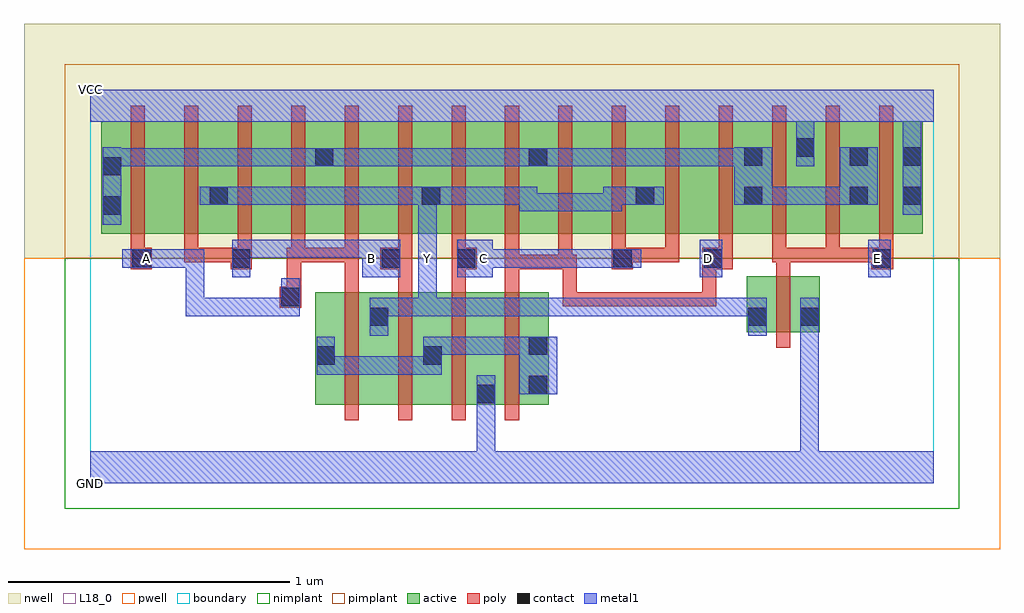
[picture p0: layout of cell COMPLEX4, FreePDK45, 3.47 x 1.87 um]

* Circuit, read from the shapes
.subckt COMPLEX4 A B C D E GND VCC Y
M1 Y A n1 VSUBS nfet w=0.4u l=0.05u
M2 n1 B Y VSUBS nfet w=0.4u l=0.05u
M3 GND C n1 VSUBS nfet w=0.4u l=0.05u
M4 n1 D GND VSUBS nfet w=0.4u l=0.05u
M5 GND E Y VSUBS nfet w=0.2u l=0.05u
M6 n2 A n3 n4 pfet w=0.4u l=0.05u
M7 Y B n2 n4 pfet w=0.4u l=0.05u
M8 n5 B Y n4 pfet w=0.4u l=0.05u
M9 n3 A n5 n4 pfet w=0.4u l=0.05u
M10 n6 A n3 n4 pfet w=0.4u l=0.05u
M11 Y B n6 n4 pfet w=0.4u l=0.05u
M12 n7 C Y n4 pfet w=0.4u l=0.05u
M13 n3 D n7 n4 pfet w=0.4u l=0.05u
M14 n8 D n3 n4 pfet w=0.4u l=0.05u
M15 Y C n8 n4 pfet w=0.4u l=0.05u
M16 n9 C Y n4 pfet w=0.4u l=0.05u
M17 n3 D n9 n4 pfet w=0.4u l=0.05u
M18 VCC E n3 n4 pfet w=0.4u l=0.05u m=3
.ends

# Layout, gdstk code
import gdstk
lib = gdstk.Library(unit=1e-6, precision=1e-09)
def R(c, l, rs):  # rectangles x0, y0, x1, y1
    for r in rs: c.add(gdstk.rectangle(r[:2], r[2:], *l))
def A(c, l, x, y, w, h, nx, ny, dx, dy):  # array of equal rectangles
    R(c, l, [(x+i*dx, y+j*dy, x+i*dx+w, y+j*dy+h) for i in range(nx) for j in range(ny)])
active = (1, 0)
pwell = (2, 0)
nwell = (3, 0)
nimplant = (4, 0)
pimplant = (5, 0)
poly = (9, 0)
contact = (10, 0)
metal1 = (11, 0)
L18_0 = (18, 0)
boundary = (235, 0)

complex4 = lib.new_cell('COMPLEX4')
A(complex4, active, 0.8, 0.28, 0.265, 0.4, 3, 1, 0.19, 0)
A(complex4, active, 0.645, 0.887, 0.225, 0.4, 4, 1, 0.38, 0)
A(complex4, active, 0.795, 0.887, 0.23, 0.4, 4, 1, 0.38, 0)
R(complex4, active, [(1.37,0.28,1.63,0.68), (1.37,0.28,1.445,0.447), (0.8,0.312,0.875,0.68), (1.555,0.312,1.63,0.527), (0.99,0.332,1.065,0.63), (1.18,0.332,1.255,0.492), (2.335,0.537,2.595,0.737), (2.335,0.545,2.41,0.737), (2.52,0.545,2.595,0.737), (0.04,0.887,0.265,1.287), (0.04,0.887,0.145,1.2), (0.265,0.887,0.495,1.287), (0.42,0.887,0.495,1.07), (0.42,0.887,0.645,1.287), (0.795,0.887,0.87,1.2), (1.175,0.887,1.25,1.07), (1.555,0.887,1.63,1.2), (1.935,0.887,2.01,1.07), (2.165,0.887,2.395,1.287), (2.32,0.887,2.58,1.287), (2.32,0.887,2.395,1.2), (2.505,0.887,2.77,1.287), (2.505,0.887,2.58,1.287), (2.695,0.887,2.96,1.287), (2.695,0.887,2.77,1.2), (2.885,0.887,2.96,1.287)])
R(complex4, pwell, [(-0.235,-0.235,3.235,0.8)])
R(complex4, nwell, [(-0.235,0.8,3.235,1.635)])
R(complex4, nimplant, [(-0.09,-0.09,3.09,0.8)])
R(complex4, pimplant, [(-0.09,0.8,3.09,1.49)])
A(complex4, poly, 0.905, 0.225, 0.05, 0.51, 4, 1, 0.19, 0)
A(complex4, poly, 1.095, 0.685, 0.05, 0.127, 3, 1, 0.19, 0)
A(complex4, poly, 0.145, 0.787, 0.05, 0.095, 7, 1, 0.19, 0)
A(complex4, poly, 1.855, 0.787, 0.05, 0.095, 6, 1, 0.19, 0)
A(complex4, poly, 0.145, 0.832, 0.05, 0.51, 15, 1, 0.19, 0)
R(complex4, poly, [(2.44,0.482,2.49,0.792), (0.675,0.625,0.75,0.7), (1.68,0.63,1.73,0.68), (1.68,0.63,1.73,0.68), (1.68,0.63,1.73,0.68), (1.68,0.63,1.73,0.812), (1.68,0.63,1.93,0.68), (1.88,0.63,1.93,0.68), (1.88,0.63,1.93,0.68), (1.88,0.63,1.93,0.68), (1.88,0.63,2.062,0.68), (2.012,0.63,2.062,0.68), (2.012,0.63,2.227,0.68), (2.177,0.63,2.227,0.68), (2.177,0.63,2.227,0.68), (2.177,0.63,2.227,0.68), (2.177,0.63,2.227,0.812), (0.7,0.65,0.75,0.7), (0.7,0.65,0.75,0.7), (0.7,0.65,0.75,0.837), (0.905,0.685,0.955,0.837), (2.44,0.742,2.49,0.837), (0.145,0.762,0.22,0.837), (0.5,0.762,0.575,0.837), (1.032,0.762,1.145,0.837), (1.285,0.762,1.375,0.837), (1.475,0.762,1.525,0.812), (1.475,0.762,1.525,0.812), (1.475,0.762,1.525,0.812), (1.475,0.762,1.525,0.882), (1.475,0.762,1.715,0.812), (1.665,0.762,1.715,0.812), (1.665,0.762,1.715,0.812), (1.665,0.762,1.73,0.812), (1.665,0.762,1.715,0.882), (1.855,0.762,1.93,0.837), (2.177,0.762,2.227,0.812), (2.177,0.762,2.227,0.812), (2.177,0.762,2.285,0.837), (2.777,0.762,2.855,0.837), (0.335,0.787,0.385,0.837), (0.335,0.787,0.55,0.837), (0.5,0.787,0.55,0.837), (0.5,0.787,0.55,0.837), (0.7,0.787,0.765,0.837), (0.715,0.787,0.765,0.837), (0.715,0.787,0.765,0.837), (0.715,0.787,0.955,0.837), (0.905,0.787,0.955,0.837), (1.88,0.787,1.93,0.837), (1.88,0.787,1.93,0.837), (1.88,0.787,2.095,0.837), (2.045,0.787,2.095,0.837), (2.425,0.787,2.49,0.837), (2.44,0.787,2.49,0.837), (2.44,0.787,2.49,0.837), (2.44,0.787,2.665,0.837), (2.615,0.787,2.665,0.837), (2.615,0.787,2.827,0.837), (2.777,0.787,2.827,0.837), (2.777,0.787,2.827,0.837)])
R(complex4, contact, [(1.375,0.285,1.44,0.35), (1.56,0.317,1.625,0.382), (0.805,0.422,0.87,0.487), (1.185,0.422,1.25,0.487), (1.56,0.457,1.625,0.522), (0.995,0.56,1.06,0.625), (2.34,0.56,2.405,0.625), (2.525,0.56,2.59,0.625), (0.68,0.63,0.745,0.695), (0.15,0.767,0.215,0.832), (0.505,0.767,0.57,0.832), (1.037,0.767,1.102,0.832), (1.305,0.767,1.37,0.832), (1.86,0.767,1.925,0.832), (2.182,0.767,2.247,0.832), (2.782,0.767,2.847,0.832), (0.045,0.955,0.11,1.02), (0.425,0.99,0.49,1.055), (1.18,0.99,1.245,1.055), (1.94,0.99,2.005,1.055), (2.325,0.99,2.39,1.055), (2.7,0.99,2.765,1.055), (2.89,0.99,2.955,1.055), (0.045,1.095,0.11,1.16), (0.8,1.127,0.865,1.192), (1.56,1.127,1.625,1.192), (2.325,1.13,2.39,1.195), (2.7,1.13,2.765,1.195), (2.89,1.13,2.955,1.195), (2.51,1.162,2.575,1.227)])
R(complex4, metal1, [(0,0,3,0.115), (1.375,0.05,1.44,0.115), (1.375,0.05,1.44,0.115), (1.375,0.05,1.44,0.115), (1.375,0.05,1.44,0.115), (1.375,0.05,1.44,0.315), (2.525,0.05,2.59,0.115), (2.525,0.05,2.59,0.115), (2.525,0.05,2.59,0.115), (2.525,0.05,2.59,0.115), (2.525,0.05,2.59,0.59), (1.375,0.25,1.44,0.385), (1.525,0.317,1.66,0.522), (0.805,0.387,0.87,0.452), (0.805,0.387,0.87,0.452), (0.805,0.387,0.87,0.522), (0.805,0.387,1.072,0.452), (1.007,0.387,1.072,0.452), (1.007,0.387,1.072,0.452), (1.007,0.387,1.072,0.452), (1.007,0.387,1.25,0.452), (1.185,0.387,1.25,0.522), (1.185,0.457,1.432,0.522), (1.367,0.457,1.432,0.522), (1.367,0.457,1.432,0.522), (1.367,0.457,1.432,0.522), (1.367,0.457,1.59,0.522), (1.525,0.457,1.59,0.522), (1.525,0.457,1.59,0.522), (0.995,0.525,1.06,0.66), (2.34,0.525,2.405,0.66), (2.525,0.525,2.59,0.59), (2.525,0.525,2.59,0.59), (2.525,0.525,2.59,0.59), (2.525,0.525,2.59,0.59), (2.525,0.525,2.59,0.66), (0.34,0.595,0.405,0.66), (0.34,0.595,0.555,0.66), (0.34,0.595,0.405,0.832), (0.49,0.595,0.555,0.66), (0.49,0.595,0.692,0.66), (0.627,0.595,0.692,0.66), (0.627,0.595,0.692,0.66), (0.627,0.595,0.692,0.66), (0.627,0.595,0.745,0.66), (0.68,0.595,0.745,0.73), (0.995,0.595,1.06,0.66), (0.995,0.595,1.06,0.66), (0.995,0.595,1.232,0.66), (1.167,0.595,1.232,0.66), (1.167,0.595,1.432,0.66), (1.167,0.595,1.232,0.797), (1.367,0.595,1.432,0.66), (1.367,0.595,1.432,0.66), (1.367,0.595,1.432,0.66), (1.367,0.595,1.59,0.66), (1.525,0.595,1.59,0.66), (1.525,0.595,1.59,0.66), (1.525,0.595,1.59,0.66), (1.525,0.595,1.727,0.66), (1.662,0.595,1.727,0.66), (1.662,0.595,1.797,0.66), (1.732,0.595,1.797,0.66), (1.732,0.595,1.942,0.66), (1.877,0.595,2.08,0.66), (1.877,0.595,1.942,0.66), (1.877,0.595,1.942,0.66), (2.015,0.595,2.08,0.66), (2.015,0.595,2.08,0.66), (2.015,0.595,2.217,0.66), (2.152,0.595,2.217,0.66), (2.152,0.595,2.217,0.66), (2.152,0.595,2.217,0.66), (2.152,0.595,2.405,0.66), (0.505,0.732,0.57,0.867), (0.967,0.732,1.102,0.867), (1.167,0.732,1.232,0.867), (1.305,0.732,1.432,0.867), (2.167,0.732,2.247,0.867), (2.767,0.732,2.847,0.867), (0.115,0.767,0.267,0.832), (0.202,0.767,0.405,0.832), (0.202,0.767,0.267,0.832), (0.202,0.767,0.267,0.832), (0.34,0.767,0.405,0.832), (0.34,0.767,0.405,0.832), (0.34,0.767,0.405,0.832), (1.367,0.767,1.432,0.832), (1.367,0.767,1.432,0.832), (1.367,0.767,1.59,0.832), (1.525,0.767,1.59,0.832), (1.525,0.767,1.59,0.832), (1.525,0.767,1.59,0.832), (1.525,0.767,1.752,0.832), (1.687,0.767,1.752,0.832), (1.687,0.767,1.797,0.832), (1.732,0.767,1.797,0.832), (1.732,0.767,1.89,0.832), (1.825,0.767,1.96,0.832), (0.505,0.802,0.692,0.867), (0.627,0.802,0.692,0.867), (0.627,0.802,0.707,0.867), (0.642,0.802,0.707,0.867), (0.642,0.802,0.895,0.867), (0.83,0.802,0.895,0.867), (0.83,0.802,0.895,0.867), (0.83,0.802,0.895,0.867), (0.83,0.802,1.032,0.867), (0.967,0.802,1.032,0.867), (0.967,0.802,1.032,0.867), (1.167,0.802,1.232,1.055), (0.045,0.92,0.11,1.195), (2.89,0.955,2.955,1.23), (1.525,0.967,1.727,1.032), (1.525,0.967,1.59,1.055), (1.662,0.967,1.727,1.032), (1.662,0.967,1.805,1.032), (1.74,0.967,1.805,1.032), (1.74,0.967,1.89,1.032), (1.825,0.967,1.89,1.055), (0.39,0.99,0.525,1.055), (0.46,0.99,0.555,1.055), (0.49,0.99,0.555,1.055), (0.49,0.99,0.692,1.055), (0.627,0.99,0.692,1.055), (0.627,0.99,0.707,1.055), (0.642,0.99,0.707,1.055), (0.642,0.99,0.895,1.055), (0.83,0.99,0.895,1.055), (0.83,0.99,0.895,1.055), (0.83,0.99,0.895,1.055), (0.83,0.99,1.037,1.055), (0.972,0.99,1.037,1.055), (0.972,0.99,1.037,1.055), (0.972,0.99,1.037,1.055), (0.972,0.99,1.21,1.055), (1.145,0.99,1.28,1.055), (1.215,0.99,1.452,1.055), (1.387,0.99,1.59,1.055), (1.387,0.99,1.452,1.055), (1.387,0.99,1.452,1.055), (1.387,0.99,1.452,1.055), (1.525,0.99,1.59,1.055), (1.525,0.99,1.59,1.055), (1.825,0.99,1.97,1.055), (1.905,0.99,2.04,1.055), (2.29,0.99,2.425,1.195), (2.36,0.99,2.425,1.055), (2.36,0.99,2.425,1.055), (2.36,0.99,2.592,1.055), (2.527,0.99,2.73,1.055), (2.527,0.99,2.592,1.055), (2.527,0.99,2.592,1.055), (2.527,0.99,2.592,1.055), (2.665,0.99,2.8,1.195), (0.045,1.127,0.11,1.192), (0.045,1.127,0.11,1.192), (0.045,1.127,0.247,1.192), (0.182,1.127,0.247,1.192), (0.182,1.127,0.247,1.192), (0.182,1.127,0.247,1.192), (0.182,1.127,0.405,1.192), (0.34,1.127,0.405,1.192), (0.34,1.127,0.405,1.192), (0.34,1.127,0.405,1.192), (0.34,1.127,0.542,1.192), (0.477,1.127,0.542,1.192), (0.477,1.127,0.692,1.192), (0.627,1.127,0.692,1.192), (0.627,1.127,0.707,1.192), (0.642,1.127,0.707,1.192), (0.642,1.127,0.83,1.192), (0.765,1.127,0.9,1.192), (0.835,1.127,0.9,1.192), (0.835,1.127,0.9,1.192), (0.835,1.127,1.072,1.192), (1.007,1.127,1.072,1.192), (1.007,1.127,1.072,1.192), (1.007,1.127,1.072,1.192), (1.007,1.127,1.295,1.192), (1.23,1.127,1.295,1.192), (1.23,1.127,1.452,1.192), (1.387,1.127,1.59,1.192), (1.387,1.127,1.452,1.192), (1.387,1.127,1.452,1.192), (1.387,1.127,1.452,1.192), (1.525,1.127,1.59,1.192), (1.525,1.127,1.59,1.192), (1.525,1.127,1.66,1.192), (1.595,1.127,1.727,1.192), (1.662,1.127,1.727,1.192), (1.662,1.127,1.805,1.192), (1.74,1.127,1.805,1.192), (1.74,1.127,1.942,1.192), (1.877,1.127,2.08,1.192), (1.877,1.127,1.942,1.192), (2.015,1.127,2.08,1.192), (2.015,1.127,2.08,1.192), (2.015,1.127,2.08,1.192), (2.015,1.127,2.217,1.192), (2.152,1.127,2.355,1.192), (2.152,1.127,2.217,1.192), (2.152,1.127,2.217,1.192), (2.152,1.127,2.217,1.192), (2.152,1.127,2.217,1.192), (2.152,1.127,2.217,1.192), (2.51,1.127,2.575,1.262), (2.89,1.165,2.955,1.35), (2.51,1.197,2.575,1.35), (0,1.285,3,1.4)])
A(complex4, L18_0, 0.967, 0.767, 0.065, 0.065, 3, 1, 0.2, 0)
R(complex4, L18_0, [(0,0,3,0.115), (1.375,0.05,1.44,0.115), (1.375,0.05,1.44,0.115), (1.375,0.05,1.44,0.115), (1.375,0.05,1.44,0.115), (1.375,0.05,1.44,0.315), (2.525,0.05,2.59,0.115), (2.525,0.05,2.59,0.115), (2.525,0.05,2.59,0.115), (2.525,0.05,2.59,0.115), (2.525,0.05,2.59,0.59), (1.375,0.25,1.44,0.385), (0.995,0.525,1.06,0.66), (2.34,0.525,2.405,0.66), (2.525,0.525,2.59,0.59), (2.525,0.525,2.59,0.59), (2.525,0.525,2.59,0.59), (2.525,0.525,2.59,0.59), (2.525,0.525,2.59,0.66), (0.34,0.595,0.405,0.66), (0.34,0.595,0.405,0.832), (0.34,0.595,0.555,0.66), (0.49,0.595,0.555,0.66), (0.49,0.595,0.692,0.66), (0.627,0.595,0.692,0.66), (0.627,0.595,0.692,0.66), (0.627,0.595,0.692,0.66), (0.627,0.595,0.745,0.66), (0.68,0.595,0.745,0.73), (0.995,0.595,1.06,0.66), (0.995,0.595,1.06,0.66), (0.995,0.595,1.232,0.66), (1.167,0.595,1.232,0.66), (1.167,0.595,1.232,0.797), (1.167,0.595,1.432,0.66), (1.367,0.595,1.432,0.66), (1.367,0.595,1.432,0.66), (1.367,0.595,1.432,0.66), (1.367,0.595,1.59,0.66), (1.525,0.595,1.59,0.66), (1.525,0.595,1.59,0.66), (1.525,0.595,1.59,0.66), (1.525,0.595,1.727,0.66), (1.662,0.595,1.727,0.66), (1.662,0.595,1.797,0.66), (1.732,0.595,1.797,0.66), (1.732,0.595,1.942,0.66), (1.877,0.595,1.942,0.66), (1.877,0.595,1.942,0.66), (1.877,0.595,2.08,0.66), (2.015,0.595,2.08,0.66), (2.015,0.595,2.08,0.66), (2.015,0.595,2.217,0.66), (2.152,0.595,2.217,0.66), (2.152,0.595,2.217,0.66), (2.152,0.595,2.217,0.66), (2.152,0.595,2.405,0.66), (0.505,0.732,0.57,0.867), (0.967,0.732,1.102,0.867), (1.167,0.732,1.232,0.867), (1.305,0.732,1.432,0.867), (2.167,0.732,2.247,0.867), (2.767,0.732,2.847,0.867), (0.115,0.767,0.267,0.832), (0.167,0.767,0.232,0.832), (0.202,0.767,0.267,0.832), (0.202,0.767,0.267,0.832), (0.202,0.767,0.405,0.832), (0.34,0.767,0.405,0.832), (0.34,0.767,0.405,0.832), (0.34,0.767,0.405,0.832), (1.367,0.767,1.432,0.832), (1.367,0.767,1.432,0.832), (1.367,0.767,1.59,0.832), (1.525,0.767,1.59,0.832), (1.525,0.767,1.59,0.832), (1.525,0.767,1.59,0.832), (1.525,0.767,1.752,0.832), (1.687,0.767,1.752,0.832), (1.687,0.767,1.797,0.832), (1.732,0.767,1.797,0.832), (1.732,0.767,1.89,0.832), (1.825,0.767,1.96,0.832), (2.167,0.767,2.232,0.832), (2.767,0.767,2.832,0.832), (0.505,0.802,0.692,0.867), (0.627,0.802,0.692,0.867), (0.627,0.802,0.707,0.867), (0.642,0.802,0.707,0.867), (0.642,0.802,0.895,0.867), (0.83,0.802,0.895,0.867), (0.83,0.802,0.895,0.867), (0.83,0.802,0.895,0.867), (0.83,0.802,1.032,0.867), (0.967,0.802,1.032,0.867), (0.967,0.802,1.032,0.867), (1.167,0.802,1.232,1.055), (2.89,0.955,2.955,1.23), (1.525,0.967,1.727,1.032), (1.525,0.967,1.59,1.055), (1.662,0.967,1.727,1.032), (1.662,0.967,1.805,1.032), (1.74,0.967,1.805,1.032), (1.74,0.967,1.89,1.032), (1.825,0.967,1.89,1.055), (0.39,0.99,0.525,1.055), (0.46,0.99,0.555,1.055), (0.49,0.99,0.555,1.055), (0.49,0.99,0.692,1.055), (0.627,0.99,0.692,1.055), (0.627,0.99,0.707,1.055), (0.642,0.99,0.707,1.055), (0.642,0.99,0.895,1.055), (0.83,0.99,0.895,1.055), (0.83,0.99,0.895,1.055), (0.83,0.99,0.895,1.055), (0.83,0.99,1.037,1.055), (0.972,0.99,1.037,1.055), (0.972,0.99,1.037,1.055), (0.972,0.99,1.037,1.055), (0.972,0.99,1.21,1.055), (1.145,0.99,1.28,1.055), (1.215,0.99,1.452,1.055), (1.387,0.99,1.452,1.055), (1.387,0.99,1.452,1.055), (1.387,0.99,1.452,1.055), (1.387,0.99,1.59,1.055), (1.525,0.99,1.59,1.055), (1.525,0.99,1.59,1.055), (1.825,0.99,1.97,1.055), (1.905,0.99,2.04,1.055), (2.51,1.127,2.575,1.262), (2.89,1.165,2.955,1.35), (2.51,1.197,2.575,1.35), (0,1.285,3,1.4)])
R(complex4, boundary, [(0,0,3,1.4)])
complex4.add(gdstk.Label('A', (0.2,0.8), layer=11, texttype=0))
complex4.add(gdstk.Label('B', (1,0.8), layer=11, texttype=0))
complex4.add(gdstk.Label('C', (1.4,0.8), layer=11, texttype=0))
complex4.add(gdstk.Label('D', (2.2,0.8), layer=11, texttype=0))
complex4.add(gdstk.Label('E', (2.8,0.8), layer=11, texttype=0))
complex4.add(gdstk.Label('Y', (1.2,0.8), layer=11, texttype=0))
complex4.add(gdstk.Label('VCC', (0,1.4), layer=11, texttype=0))
complex4.add(gdstk.Label('GND', (0,0), layer=11, texttype=0))

lib.write_gds('COMPLEX4.gds')
